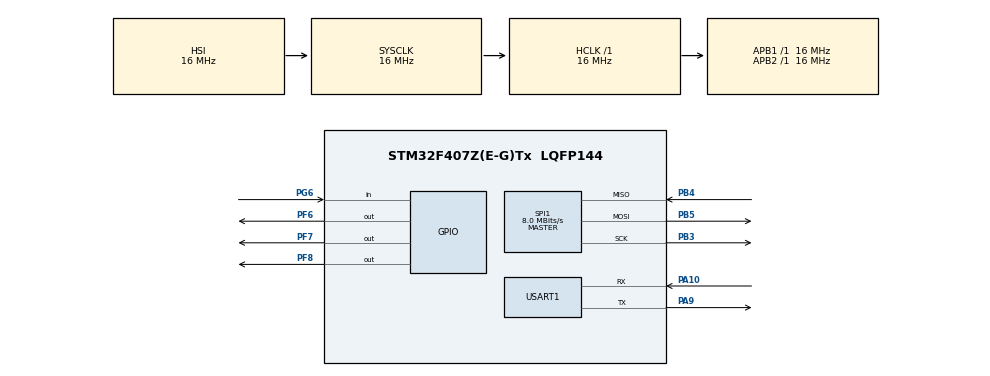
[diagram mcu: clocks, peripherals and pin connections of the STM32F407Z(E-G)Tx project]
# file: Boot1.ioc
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FREERTOS.Tasks01=defaultTask,24,128,StartDefaultTask,Default,NULL,Dynamic,NULL,NULL
Mcu.Family=STM32F4
Mcu.Name=STM32F407Z(E-G)Tx
Mcu.Package=LQFP144
NVIC.PriorityGroup=NVIC_PRIORITYGROUP_4
PA10.Mode=Asynchronous
PA10.Signal=USART1_RX
PA13.Mode=Serial_Wire
PA13.Signal=SYS_JTMS-SWDIO
PA14.Mode=Serial_Wire
PA14.Signal=SYS_JTCK-SWCLK
PA9.Mode=Asynchronous
PA9.Signal=USART1_TX
PB3.Mode=Full_Duplex_Master
PB3.Signal=SPI1_SCK
PB4.Mode=Full_Duplex_Master
PB4.Signal=SPI1_MISO
PB5.Mode=Full_Duplex_Master
PB5.Signal=SPI1_MOSI
PF6.Signal=GPIO_Output
PF7.Signal=GPIO_Output
PF8.Signal=GPIO_Output
PG6.Signal=GPIO_Input
PH0-OSC_IN.Mode=HSE-External-Oscillator
PH0-OSC_IN.Signal=RCC_OSC_IN
PH1-OSC_OUT.Mode=HSE-External-Oscillator
PH1-OSC_OUT.Signal=RCC_OSC_OUT
ProjectManager.HeapSize=0x200
ProjectManager.StackSize=0x400
ProjectManager.TargetToolchain=MDK-ARM V5.32
RCC.AHBFreq_Value=16000000
RCC.APB1Freq_Value=16000000
RCC.APB2Freq_Value=16000000
RCC.CortexFreq_Value=16000000
RCC.HSE_VALUE=25000000
RCC.HSI_VALUE=16000000
RCC.LSE_VALUE=32768
RCC.SYSCLKFreq_VALUE=16000000
RCC.VCOOutputFreq_Value=192000000
SPI1.CalculateBaudRate=8.0 MBits/s
SPI1.Direction=SPI_DIRECTION_2LINES
SPI1.Mode=SPI_MODE_MASTER
SPI1.VirtualType=VM_MASTER
USART1.VirtualMode=VM_ASYNC
VP_FREERTOS_VS_CMSIS_V2.Mode=CMSIS_V2
VP_IWDG_VS_IWDG.Mode=IWDG_Activate
board=custom

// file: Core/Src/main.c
/* USER CODE BEGIN Header */
/**
  ******************************************************************************
  * @file           : main.c
  * @brief          : Main program body
  ******************************************************************************
  * @attention
  *
  * Copyright (c) 2026 STMicroelectronics.
  * All rights reserved.
  *
  * This software is licensed under terms that can be found in the LICENSE file
  * in the root directory of this software component.
  * If no LICENSE file comes with this software, it is provided AS-IS.
  *
  ******************************************************************************
  */
/* USER CODE END Header */
#include "main.h"
#include "cmsis_os.h"
#include "iwdg.h"
#include "spi.h"
#include "usart.h"
#include "gpio.h"

/* USER CODE BEGIN Includes */
#include "ProtocolFrame.h"
#include "SPI_FLASH.h"
/* USER CODE END Includes */

void SystemClock_Config(void);
void MX_FREERTOS_Init(void);

/* USER CODE BEGIN 0 */
void App_Valid()
{
Firmware_Info Info;
	Read_Firmware_Info(FlAG_FLASH_ADDR,&Info);

	Info.valid_app=1;

	Write_Firmware_Info(FlAG_FLASH_ADDR,&Info);

}
/* USER CODE END 0 */

int main(void)
{

  /* MCU Configuration--------------------------------------------------------*/

  /* Reset of all peripherals, Initializes the Flash interface and the Systick. */
  HAL_Init();

  /* Configure the system clock */
  SystemClock_Config();

  /* Initialize all configured peripherals */
  MX_GPIO_Init();
  MX_IWDG_Init();
  MX_USART1_UART_Init();
  MX_SPI1_Init();
  /* USER CODE BEGIN 2 */
  __enable_irq();   // 关键：把全局中断打开

  /* USER CODE END 2 */

  /* Init scheduler */
  osKernelInitialize();  /* Call init function for freertos objects (in cmsis_os2.c) */
  MX_FREERTOS_Init();

  /* Start scheduler */
  osKernelStart();

  /* We should never get here as control is now taken by the scheduler */

  /* Infinite loop */
  while (1)
  {

  }
}

void SystemClock_Config(void)
{
  RCC_OscInitTypeDef RCC_OscInitStruct = {0};
  RCC_ClkInitTypeDef RCC_ClkInitStruct = {0};

  /** Configure the main internal regulator output voltage
  */
  __HAL_RCC_PWR_CLK_ENABLE();
  __HAL_PWR_VOLTAGESCALING_CONFIG(PWR_REGULATOR_VOLTAGE_SCALE1);

  /** Initializes the RCC Oscillators according to the specified parameters
  * in the RCC_OscInitTypeDef structure.
  */
  RCC_OscInitStruct.OscillatorType = RCC_OSCILLATORTYPE_HSI|RCC_OSCILLATORTYPE_LSI;
  RCC_OscInitStruct.HSIState = RCC_HSI_ON;
  RCC_OscInitStruct.HSICalibrationValue = RCC_HSICALIBRATION_DEFAULT;
  RCC_OscInitStruct.LSIState = RCC_LSI_ON;
  RCC_OscInitStruct.PLL.PLLState = RCC_PLL_NONE;
  if (HAL_RCC_OscConfig(&RCC_OscInitStruct) != HAL_OK)
  {
    Error_Handler();
  }

  /** Initializes the CPU, AHB and APB buses clocks
  */
  RCC_ClkInitStruct.ClockType = RCC_CLOCKTYPE_HCLK|RCC_CLOCKTYPE_SYSCLK
                              |RCC_CLOCKTYPE_PCLK1|RCC_CLOCKTYPE_PCLK2;
  RCC_ClkInitStruct.SYSCLKSource = RCC_SYSCLKSOURCE_HSI;
  RCC_ClkInitStruct.AHBCLKDivider = RCC_SYSCLK_DIV1;
  RCC_ClkInitStruct.APB1CLKDivider = RCC_HCLK_DIV1;
  RCC_ClkInitStruct.APB2CLKDivider = RCC_HCLK_DIV1;

  if (HAL_RCC_ClockConfig(&RCC_ClkInitStruct, FLASH_LATENCY_0) != HAL_OK)
  {
    Error_Handler();
  }
}

void HAL_TIM_PeriodElapsedCallback(TIM_HandleTypeDef *htim)
{
  if (htim->Instance == TIM4)
  {
    HAL_IncTick();
  }
}

void Error_Handler(void)
{
  __disable_irq();
  while (1)
  {
  }
}

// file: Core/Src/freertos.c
/* USER CODE BEGIN Header */
/**
  ******************************************************************************
  * File Name          : freertos.c
  * Description        : Code for freertos applications
  ******************************************************************************
  * @attention
  *
  * Copyright (c) 2026 STMicroelectronics.
  * All rights reserved.
  *
  * This software is licensed under terms that can be found in the LICENSE file
  * in the root directory of this software component.
  * If no LICENSE file comes with this software, it is provided AS-IS.
  *
  ******************************************************************************
  */
/* USER CODE END Header */

#include "FreeRTOS.h"
#include "task.h"
#include "main.h"
#include "cmsis_os.h"

/* USER CODE BEGIN PTD */
extern IWDG_HandleTypeDef hiwdg;
extern UART_HandleTypeDef huart1;

extern void App_Valid();

static uint8_t Count=0;
/* USER CODE END PTD */

/* Definitions for defaultTask */
osThreadId_t defaultTaskHandle;
const osThreadAttr_t defaultTask_attributes = {
  .name = "defaultTask",
  .stack_size = 128 * 4,
  .priority = (osPriority_t) osPriorityNormal,
};

/* USER CODE BEGIN FunctionPrototypes */
void LcdTask(void *params)
{
	while(1)
	{
	HAL_GPIO_WritePin(GPIOF, GPIO_PIN_6, GPIO_PIN_RESET); // ��
     osDelay(100);
    HAL_GPIO_WritePin(GPIOF, GPIO_PIN_6, GPIO_PIN_SET);   // ��
     osDelay(100);
					HAL_UART_Transmit(&huart1,(uint8_t *)"Task2 is done.",15,10);
	}

}
/* USER CODE END FunctionPrototypes */

void StartDefaultTask(void *argument);

void MX_FREERTOS_Init(void); /* (MISRA C 2004 rule 8.1) */

void MX_FREERTOS_Init(void) {

  /* Create the thread(s) */
  /* creation of defaultTask */
  defaultTaskHandle = osThreadNew(StartDefaultTask, NULL, &defaultTask_attributes);

}

void StartDefaultTask(void *argument)
{
  /* USER CODE BEGIN StartDefaultTask */
  /* Infinite loop */
  for(;;)
  {
		HAL_IWDG_Refresh(&hiwdg);

		Count++;
//		if(Count==5)
//		{
//		 App_Valid();//�ȶ�ι��5��֮���Valid_App��1
//		}

		if(Count < 5)
{
    Count++;
    if(Count == 5)
    {
        App_Valid();
    }
}

		HAL_GPIO_WritePin(GPIOF, GPIO_PIN_7, GPIO_PIN_RESET); // ��
     osDelay(100);
    HAL_GPIO_WritePin(GPIOF, GPIO_PIN_7, GPIO_PIN_SET);   // ��
     osDelay(100);

		HAL_UART_Transmit(&huart1,(uint8_t *)"Task1 is done.",15,10);
  }
  /* USER CODE END StartDefaultTask */
}
